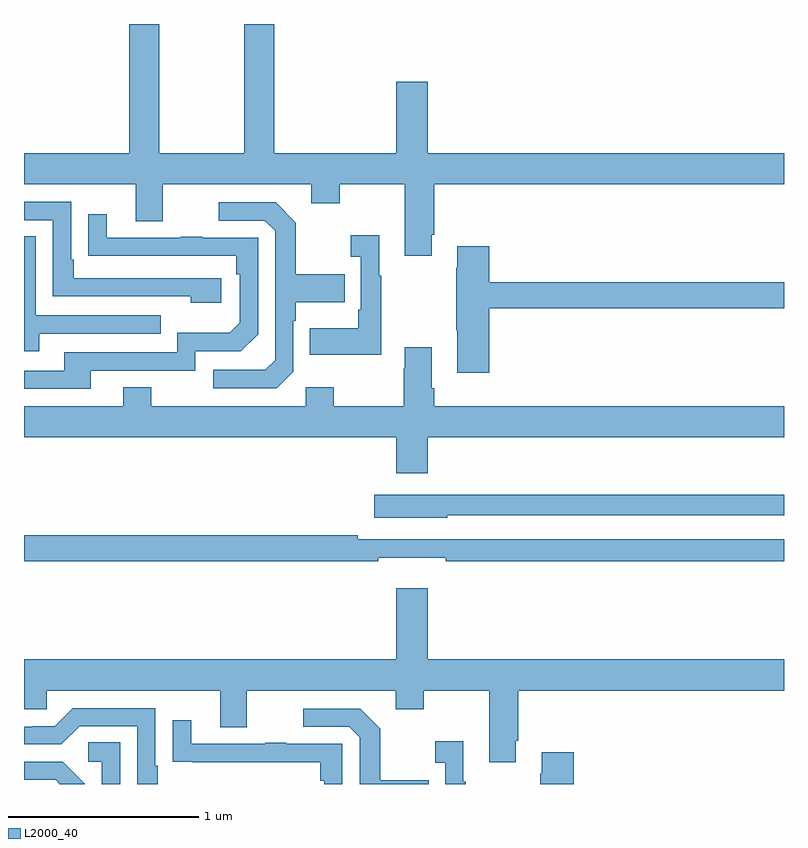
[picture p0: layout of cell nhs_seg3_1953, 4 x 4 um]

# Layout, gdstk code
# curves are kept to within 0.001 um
import gdstk
lib = gdstk.Library(unit=1e-6, precision=1e-09)
def P(c, l, *ps):  # polygons
    for p in ps: c.add(gdstk.Polygon(p, *l))
L2000_40 = (2000, 40)

nhs_seg3_1953 = lib.new_cell('nhs_seg3_1953')
P(nhs_seg3_1953, L2000_40, [(213.145,727.291),(213.158,727.291),(213.158,727.556),(215,727.556),(215,727.72),(213.124,727.72),(213.124,728.095),(212.96,728.095),(212.96,727.72),(212.318,727.72),(212.318,728.4),(212.158,728.4),(212.158,727.72),(211.713,727.72),(211.713,728.4),(211.553,728.4),(211.553,727.72),(211,727.72),(211,727.556),(211.589,727.556),(211.589,727.362),(211.729,727.362),(211.729,727.556),(212.513,727.556),(212.513,727.457),(212.661,727.457),(212.661,727.556),(213.005,727.556),(213.005,727.179),(213.145,727.179)],
  [(212.038,727.062),(211.261,727.062),(211.261,727.159),(211.248,727.159),(211.248,727.464),(211,727.464),(211,727.368),(211.152,727.368),(211.152,726.966),(211.877,726.966),(211.877,726.932),(212.038,726.932)],
  [(212.418,726.57),(212.418,726.839),(212.431,726.839),(212.431,726.935),(212.687,726.935),(212.687,727.083),(212.431,727.083),(212.431,727.355),(212.325,727.461),(212.025,727.461),(212.025,727.365),(212.268,727.365),(212.322,727.311),(212.322,726.63),(212.271,726.579),(211.995,726.579),(211.995,726.483),(212.331,726.483)],
  [(211.351,726.576),(211.902,726.576),(211.902,726.678),(212.142,726.678),(212.232,726.768),(212.232,727.275),(211.937,727.275),(211.937,727.28),(211.825,727.28),(211.825,727.275),(211.435,727.275),(211.435,727.399),(211.339,727.399),(211.339,727.18),(212.116,727.179),(212.116,727.082),(212.136,727.082),(212.136,726.828),(212.083,726.775),(211.806,726.775),(211.806,726.672),(211.211,726.672),(211.211,726.576),(211,726.576),(211,726.48),(211.351,726.48)],
  [(212.881,727.075),(212.869,727.075),(212.869,727.288),(212.721,727.288),(212.721,727.175),(212.772,727.175),(212.772,726.895),(212.76,726.895),(212.76,726.799),(212.503,726.799),(212.503,726.659),(212.881,726.659)],
  [(211.081,726.771),(211.721,726.771),(211.721,726.867),(211.062,726.867),(211.062,727.283),(211,727.283),(211,726.677),(211.081,726.677)],
  [(213.449,726.904),(215,726.904),(215,727.04),(213.449,727.04),(213.449,727.231),(213.281,727.231),(213.281,727.118),(213.274,727.118),(213.274,726.787),(213.281,726.787),(213.281,726.564),(213.449,726.564)],
  [(212.631,726.487),(212.484,726.487),(212.484,726.388),(211.671,726.388),(211.671,726.487),(211.523,726.487),(211.523,726.388),(211,726.388),(211,726.224),(212.96,726.224),(212.96,726.036),(213.124,726.036),(213.124,726.224),(215,726.224),(215,726.388),(213.158,726.388),(213.158,726.484),(213.145,726.484),(213.145,726.7),(213.005,726.7),(213.005,726.587),(212.998,726.587),(212.998,726.388),(212.631,726.388)],
  [(213.228,725.814),(215,725.814),(215,725.923),(212.844,725.923),(212.844,725.801),(213.228,725.801)],
  [(212.864,725.591),(213.22,725.591),(213.22,725.572),(215,725.572),(215,725.688),(212.756,725.688),(212.756,725.708),(211,725.708),(211,725.572),(212.864,725.572)],
  [(213.589,724.627),(213.602,724.627),(213.602,724.892),(215,724.892),(215,725.056),(213.124,725.056),(213.124,725.431),(212.96,725.431),(212.96,725.056),(211,725.056),(211,724.794),(211.119,724.794),(211.119,724.892),(212.033,724.892),(212.033,724.698),(212.173,724.698),(212.173,724.892),(212.957,724.892),(212.957,724.793),(213.105,724.793),(213.105,724.892),(213.449,724.892),(213.449,724.515),(213.589,724.515)],
  [(211.705,724.495),(211.692,724.495),(211.692,724.8),(211.257,724.8),(211.161,724.704),(211.043,724.704),(211.043,724.701),(211,724.701),(211,724.608),(211.197,724.608),(211.293,724.704),(211.596,724.704),(211.596,724.4),(211.705,724.4)],
  [(213.131,724.419),(212.875,724.419),(212.875,724.691),(212.769,724.797),(212.469,724.797),(212.469,724.701),(212.712,724.701),(212.766,724.647),(212.766,724.4),(213.131,724.4)],
  [(212.676,724.611),(212.381,724.611),(212.381,724.616),(212.269,724.616),(212.269,724.611),(211.879,724.611),(211.879,724.735),(211.783,724.735),(211.783,724.516),(211.885,724.516),(211.885,724.515),(212.56,724.515),(212.56,724.418),(212.58,724.418),(212.58,724.4),(212.676,724.4)],
  [(213.325,724.411),(213.313,724.411),(213.313,724.624),(213.165,724.624),(213.165,724.511),(213.216,724.511),(213.216,724.4),(213.325,724.4)],
  [(211.506,724.619),(211.338,724.619),(211.338,724.518),(211.41,724.518),(211.41,724.4),(211.506,724.4)],
  [(213.893,724.567),(213.725,724.567),(213.725,724.454),(213.718,724.454),(213.718,724.4),(213.893,724.4)],
  [(211.32,724.402),(211.204,724.518),(211,724.518),(211,724.422),(211.166,724.422),(211.188,724.4),(211.32,724.4)])

lib.write_gds('nhs_seg3_1953.gds')
